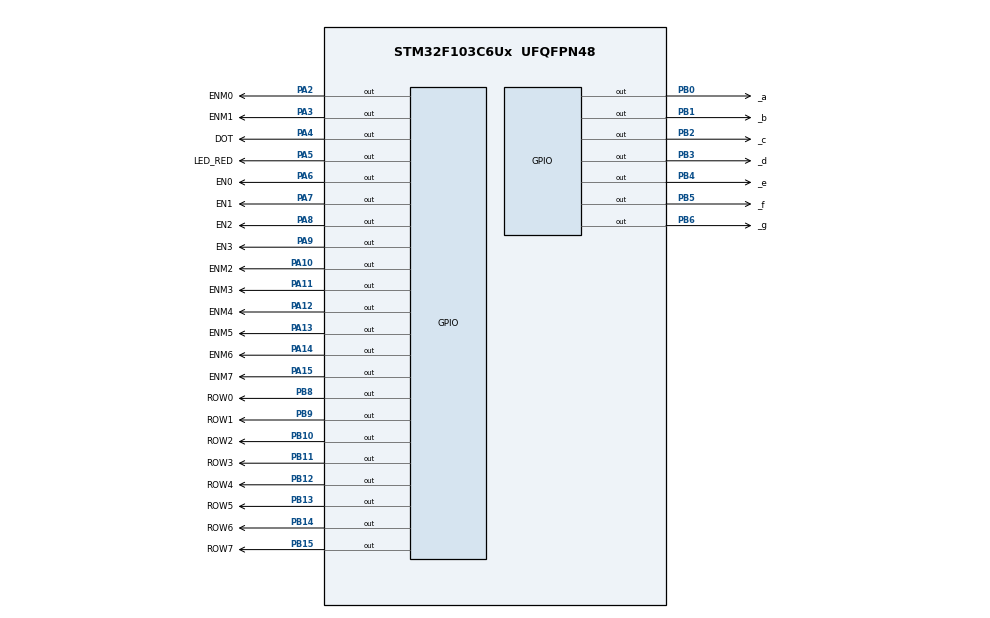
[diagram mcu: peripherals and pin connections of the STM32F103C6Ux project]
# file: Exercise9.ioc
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Mcu.Family=STM32F1
Mcu.Name=STM32F103C6Ux
Mcu.Package=UFQFPN48
NVIC.PriorityGroup=NVIC_PRIORITYGROUP_4
NVIC.TIM2_IRQn=true\:0\:0\:false\:false\:true\:true\:true\:true
PA10.GPIO_Label=ENM2
PA10.Signal=GPIO_Output
PA11.GPIO_Label=ENM3
PA11.Signal=GPIO_Output
PA12.GPIO_Label=ENM4
PA12.Signal=GPIO_Output
PA13.GPIO_Label=ENM5
PA13.Signal=GPIO_Output
PA14.GPIO_Label=ENM6
PA14.Signal=GPIO_Output
PA15.GPIO_Label=ENM7
PA15.Signal=GPIO_Output
PA2.GPIO_Label=ENM0
PA2.Signal=GPIO_Output
PA3.GPIO_Label=ENM1
PA3.Signal=GPIO_Output
PA4.GPIO_Label=DOT
PA4.Signal=GPIO_Output
PA5.GPIO_Label=LED_RED
PA5.Signal=GPIO_Output
PA6.GPIO_Label=EN0
PA6.Signal=GPIO_Output
PA7.GPIO_Label=EN1
PA7.Signal=GPIO_Output
PA8.GPIO_Label=EN2
PA8.Signal=GPIO_Output
PA9.GPIO_Label=EN3
PA9.Signal=GPIO_Output
PB0.GPIO_Label=_a
PB0.Signal=GPIO_Output
PB1.GPIO_Label=_b
PB1.Signal=GPIO_Output
PB10.GPIO_Label=ROW2
PB10.Signal=GPIO_Output
PB11.GPIO_Label=ROW3
PB11.Signal=GPIO_Output
PB12.GPIO_Label=ROW4
PB12.Signal=GPIO_Output
PB13.GPIO_Label=ROW5
PB13.Signal=GPIO_Output
PB14.GPIO_Label=ROW6
PB14.Signal=GPIO_Output
PB15.GPIO_Label=ROW7
PB15.Signal=GPIO_Output
PB2.GPIO_Label=_c
PB2.Signal=GPIO_Output
PB3.GPIO_Label=_d
PB3.Signal=GPIO_Output
PB4.GPIO_Label=_e
PB4.Signal=GPIO_Output
PB5.GPIO_Label=_f
PB5.Signal=GPIO_Output
PB6.GPIO_Label=_g
PB6.Signal=GPIO_Output
PB8.GPIO_Label=ROW0
PB8.Signal=GPIO_Output
PB9.GPIO_Label=ROW1
PB9.Signal=GPIO_Output
ProjectManager.HeapSize=0x200
ProjectManager.StackSize=0x400
ProjectManager.TargetToolchain=STM32CubeIDE
RCC.APB1Freq_Value=8000000
RCC.APB2Freq_Value=8000000
TIM2.Period=9
TIM2.Prescaler=7999
VP_TIM2_VS_ClockSourceINT.Mode=Internal
board=custom

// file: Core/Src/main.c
/* USER CODE BEGIN Header */
/**
  ******************************************************************************
  * @file           : main.c
  * @brief          : Main program body
  ******************************************************************************
  * @attention
  *
  * Copyright (c) 2022 STMicroelectronics.
  * All rights reserved.
  *
  * This software is licensed under terms that can be found in the LICENSE file
  * in the root directory of this software component.
  * If no LICENSE file comes with this software, it is provided AS-IS.
  *
  ******************************************************************************
  */
/* USER CODE END Header */
#include "main.h"

/* USER CODE BEGIN Includes */
#include "software_timer.h"
/* USER CODE END Includes */

TIM_HandleTypeDef htim2;

void SystemClock_Config(void);
static void MX_GPIO_Init(void);
static void MX_TIM2_Init(void);

/* USER CODE BEGIN 0 */
void display7SEG (int num, GPIO_TypeDef * GPIO_TYPE, uint16_t a_Pin, uint16_t b_Pin, uint16_t c_Pin, uint16_t d_Pin, uint16_t e_Pin, uint16_t f_Pin, uint16_t g_Pin){
	switch (num){
		case 0:
			HAL_GPIO_WritePin(GPIO_TYPE, a_Pin, RESET);
			HAL_GPIO_WritePin(GPIO_TYPE, b_Pin, RESET);
			HAL_GPIO_WritePin(GPIO_TYPE, c_Pin, RESET);
			HAL_GPIO_WritePin(GPIO_TYPE, d_Pin, RESET);
			HAL_GPIO_WritePin(GPIO_TYPE, e_Pin, RESET);
			HAL_GPIO_WritePin(GPIO_TYPE, f_Pin, RESET);
			HAL_GPIO_WritePin(GPIO_TYPE, g_Pin, SET);
			break;
		case 1:
			HAL_GPIO_WritePin(GPIO_TYPE, a_Pin, SET);
			HAL_GPIO_WritePin(GPIO_TYPE, b_Pin, RESET);
			HAL_GPIO_WritePin(GPIO_TYPE, c_Pin, RESET);
			HAL_GPIO_WritePin(GPIO_TYPE, d_Pin, SET);
			HAL_GPIO_WritePin(GPIO_TYPE, e_Pin, SET);
			HAL_GPIO_WritePin(GPIO_TYPE, f_Pin, SET);
			HAL_GPIO_WritePin(GPIO_TYPE, g_Pin, SET);
			break;
		case 2:
			HAL_GPIO_WritePin(GPIO_TYPE, a_Pin, RESET);
			HAL_GPIO_WritePin(GPIO_TYPE, b_Pin, RESET);
			HAL_GPIO_WritePin(GPIO_TYPE, c_Pin, SET);
			HAL_GPIO_WritePin(GPIO_TYPE, d_Pin, RESET);
			HAL_GPIO_WritePin(GPIO_TYPE, e_Pin, RESET);
			HAL_GPIO_WritePin(GPIO_TYPE, f_Pin, SET);
			HAL_GPIO_WritePin(GPIO_TYPE, g_Pin, RESET);
			break;
		case 3:
			HAL_GPIO_WritePin(GPIO_TYPE, a_Pin, RESET);
			HAL_GPIO_WritePin(GPIO_TYPE, b_Pin, RESET);
			HAL_GPIO_WritePin(GPIO_TYPE, c_Pin, RESET);
			HAL_GPIO_WritePin(GPIO_TYPE, d_Pin, RESET);
			HAL_GPIO_WritePin(GPIO_TYPE, e_Pin, SET);
			HAL_GPIO_WritePin(GPIO_TYPE, f_Pin, SET);
			HAL_GPIO_WritePin(GPIO_TYPE, g_Pin, RESET);
			break;
		case 4:
			HAL_GPIO_WritePin(GPIO_TYPE, a_Pin, SET);
			HAL_GPIO_WritePin(GPIO_TYPE, b_Pin, RESET);
			HAL_GPIO_WritePin(GPIO_TYPE, c_Pin, RESET);
			HAL_GPIO_WritePin(GPIO_TYPE, d_Pin, SET);
			HAL_GPIO_WritePin(GPIO_TYPE, e_Pin, SET);
			HAL_GPIO_WritePin(GPIO_TYPE, f_Pin, RESET);
			HAL_GPIO_WritePin(GPIO_TYPE, g_Pin, RESET);
			break;
		case 5:
			HAL_GPIO_WritePin(GPIO_TYPE, a_Pin, RESET);
			HAL_GPIO_WritePin(GPIO_TYPE, b_Pin, SET);
			HAL_GPIO_WritePin(GPIO_TYPE, c_Pin, RESET);
			HAL_GPIO_WritePin(GPIO_TYPE, d_Pin, RESET);
			HAL_GPIO_WritePin(GPIO_TYPE, e_Pin, SET);
			HAL_GPIO_WritePin(GPIO_TYPE, f_Pin, RESET);
			HAL_GPIO_WritePin(GPIO_TYPE, g_Pin, RESET);
			break;
		case 6:
			HAL_GPIO_WritePin(GPIO_TYPE, a_Pin, RESET);
			HAL_GPIO_WritePin(GPIO_TYPE, b_Pin, SET);
			HAL_GPIO_WritePin(GPIO_TYPE, c_Pin, RESET);
			HAL_GPIO_WritePin(GPIO_TYPE, d_Pin, RESET);
			HAL_GPIO_WritePin(GPIO_TYPE, e_Pin, RESET);
			HAL_GPIO_WritePin(GPIO_TYPE, f_Pin, RESET);
			HAL_GPIO_WritePin(GPIO_TYPE, g_Pin, RESET);
			break;
		case 7:
			HAL_GPIO_WritePin(GPIO_TYPE, a_Pin, RESET);
			HAL_GPIO_WritePin(GPIO_TYPE, b_Pin, RESET);
			HAL_GPIO_WritePin(GPIO_TYPE, c_Pin, RESET);
			HAL_GPIO_WritePin(GPIO_TYPE, d_Pin, SET);
			HAL_GPIO_WritePin(GPIO_TYPE, e_Pin, SET);
			HAL_GPIO_WritePin(GPIO_TYPE, f_Pin, SET);
			HAL_GPIO_WritePin(GPIO_TYPE, g_Pin, SET);
			break;
		case 8:
			HAL_GPIO_WritePin(GPIO_TYPE, a_Pin, RESET);
			HAL_GPIO_WritePin(GPIO_TYPE, b_Pin, RESET);
			HAL_GPIO_WritePin(GPIO_TYPE, c_Pin, RESET);
			HAL_GPIO_WritePin(GPIO_TYPE, d_Pin, RESET);
			HAL_GPIO_WritePin(GPIO_TYPE, e_Pin, RESET);
			HAL_GPIO_WritePin(GPIO_TYPE, f_Pin, RESET);
			HAL_GPIO_WritePin(GPIO_TYPE, g_Pin, RESET);
			break;
		case 9:
			HAL_GPIO_WritePin(GPIO_TYPE, a_Pin, RESET);
			HAL_GPIO_WritePin(GPIO_TYPE, b_Pin, RESET);
			HAL_GPIO_WritePin(GPIO_TYPE, c_Pin, RESET);
			HAL_GPIO_WritePin(GPIO_TYPE, d_Pin, RESET);
			HAL_GPIO_WritePin(GPIO_TYPE, e_Pin, SET);
			HAL_GPIO_WritePin(GPIO_TYPE, f_Pin, RESET);
			HAL_GPIO_WritePin(GPIO_TYPE, g_Pin, RESET);
			break;
		default:
			break;
	}
}
int profile[10][8] = {
		{1, 1, 0, 0, 0, 0, 0, 0},
		{1, 0, 0, 0, 0, 0, 0, 0},
		{0, 0, 0, 1, 0, 0, 1, 1},
		{0, 0, 1, 1, 0, 0, 1, 1},
		{0, 0, 1, 1, 0, 0, 1, 1},
		{0, 0, 0, 1, 0, 0, 1, 1},
		{1, 0, 0, 0, 0, 0, 0, 0},
		{1, 1, 0, 0, 0, 0, 0, 0},
		{1, 1, 1, 1, 1, 1, 1, 1},
		{1, 1, 1, 1, 1, 1, 1, 1}
};

int row1[] = {1, 1, 0, 0, 0, 0, 0, 0};
int row2[] = {1, 0, 0, 0, 0, 0, 0, 0};
int row3[] = {0, 0, 0, 1, 0, 0, 1, 1};
int row4[] = {0, 0, 1, 1, 0, 0, 1, 1};
int row5[] = {0, 0, 1, 1, 0, 0, 1, 1};
int row6[] = {0, 0, 0, 1, 0, 0, 1, 1};
int row7[] = {1, 0, 0, 0, 0, 0, 0, 0};
int row8[] = {1, 1, 0, 0, 0, 0, 0, 0};
void clearAllRow() {
	HAL_GPIO_WritePin(ENM0_GPIO_Port, ENM0_Pin, 0);
	HAL_GPIO_WritePin(ENM1_GPIO_Port, ENM1_Pin, 0);
	HAL_GPIO_WritePin(ENM2_GPIO_Port, ENM2_Pin, 0);
	HAL_GPIO_WritePin(ENM3_GPIO_Port, ENM3_Pin, 0);
	HAL_GPIO_WritePin(ENM4_GPIO_Port, ENM4_Pin, 0);
	HAL_GPIO_WritePin(ENM5_GPIO_Port, ENM5_Pin, 0);
	HAL_GPIO_WritePin(ENM6_GPIO_Port, ENM6_Pin, 0);
	HAL_GPIO_WritePin(ENM7_GPIO_Port, ENM7_Pin, 0);
}
void updateLedMatrix(int index, int profile[]) {
	switch (index) {
	case 0:
		clearAllRow();
		HAL_GPIO_WritePin(ENM0_GPIO_Port, ENM0_Pin, 1);
		break;
	case 1:
		clearAllRow();
		HAL_GPIO_WritePin(ENM1_GPIO_Port, ENM1_Pin, 1);
		break;
	case 2:
		clearAllRow();
		HAL_GPIO_WritePin(ENM2_GPIO_Port, ENM2_Pin, 1);
		break;
	case 3:
		clearAllRow();
		HAL_GPIO_WritePin(ENM3_GPIO_Port, ENM3_Pin, 1);
		break;
	case 4:
		clearAllRow();
		HAL_GPIO_WritePin(ENM4_GPIO_Port, ENM4_Pin, 1);
		break;
	case 5:
		clearAllRow();
		HAL_GPIO_WritePin(ENM5_GPIO_Port, ENM5_Pin, 1);
		break;
	case 6:
		clearAllRow();
		HAL_GPIO_WritePin(ENM6_GPIO_Port, ENM6_Pin, 1);
		break;
	case 7:
		clearAllRow();
		HAL_GPIO_WritePin(ENM7_GPIO_Port, ENM7_Pin, 1);
		break;
	default:
		break;
	}
	HAL_GPIO_WritePin(ROW0_GPIO_Port, ROW0_Pin, profile[0]);
	HAL_GPIO_WritePin(ROW1_GPIO_Port, ROW1_Pin, profile[1]);
	HAL_GPIO_WritePin(ROW2_GPIO_Port, ROW2_Pin, profile[2]);
	HAL_GPIO_WritePin(ROW3_GPIO_Port, ROW3_Pin, profile[3]);
	HAL_GPIO_WritePin(ROW4_GPIO_Port, ROW4_Pin, profile[4]);
	HAL_GPIO_WritePin(ROW5_GPIO_Port, ROW5_Pin, profile[5]);
	HAL_GPIO_WritePin(ROW6_GPIO_Port, ROW6_Pin, profile[6]);
	HAL_GPIO_WritePin(ROW7_GPIO_Port, ROW7_Pin, profile[7]);
}
/* USER CODE END 0 */

int main(void)
{

  /* MCU Configuration--------------------------------------------------------*/

  /* Reset of all peripherals, Initializes the Flash interface and the Systick. */
  HAL_Init();

  /* Configure the system clock */
  SystemClock_Config();

  /* Initialize all configured peripherals */
  MX_GPIO_Init();
  MX_TIM2_Init();
  /* USER CODE BEGIN 2 */
  HAL_TIM_Base_Start_IT (& htim2 );
  /* USER CODE END 2 */

  /* Infinite loop */
  /* USER CODE BEGIN WHILE */
  setTimer1(100);
  setTimer2(50);
  setTimer3(100);
  setTimer4(1);
  int status = 1;
  int minute = 30, hour = 0;
  int minute_1 = minute % 10;
  int minute_2 = minute / 10;
  int hour_1 = hour % 10;
  int hour_2 = hour / 10;
  int count = 0;
  int count_offset = 0;
  while (1)
  {
	  if(timer1_flag == 1) {
		  setTimer1(100);
		  HAL_GPIO_TogglePin(LED_RED_GPIO_Port, LED_RED_Pin);
		  HAL_GPIO_TogglePin(DOT_GPIO_Port, DOT_Pin);
	  }
	  if(timer4_flag == 1) {
		  setTimer4(1);
		  if(count + count_offset >= 10) {
			  updateLedMatrix(count, profile[count + count_offset - 10]);
		  }
		  else {
			  updateLedMatrix(count, profile[count + count_offset]);
		  }
		  count++;
		  if(count >= 8) {
			  count = 0;
			  count_offset += 1;
			  if(count_offset >= 10) count_offset = 0;
		  }
	  }
//	  if(timer4_flag == 1) {
//		  setTimer4(1);
//		  updateLedMatrix(count, profile[count]);
//		  count++;
//		  if(count >= 8) {
//			  count = 0;
//		  }
//	  }
	  if(timer2_flag == 1) {
		  setTimer2(50);
		  if(status == 4) {
			  HAL_GPIO_WritePin(EN0_GPIO_Port, EN0_Pin, RESET);
			  HAL_GPIO_WritePin(EN1_GPIO_Port, EN1_Pin, SET);
			  HAL_GPIO_WritePin(EN2_GPIO_Port, EN2_Pin, SET);
			  HAL_GPIO_WritePin(EN3_GPIO_Port, EN3_Pin, SET);
			  display7SEG(hour_2, GPIOB, _a_Pin, _b_Pin, _c_Pin, _d_Pin, _e_Pin, _f_Pin, _g_Pin);
			  status = 1;
			  continue;
		  }
		  if(status == 3) {
			  HAL_GPIO_WritePin(EN0_GPIO_Port, EN0_Pin, SET);
			  HAL_GPIO_WritePin(EN1_GPIO_Port, EN1_Pin, RESET);
			  HAL_GPIO_WritePin(EN2_GPIO_Port, EN2_Pin, SET);
			  HAL_GPIO_WritePin(EN3_GPIO_Port, EN3_Pin, SET);
			  display7SEG(hour_1, GPIOB, _a_Pin, _b_Pin, _c_Pin, _d_Pin, _e_Pin, _f_Pin, _g_Pin);
			  status = 4;
		  }
		  if(status == 2) {
			  HAL_GPIO_WritePin(EN0_GPIO_Port, EN0_Pin, SET);
			  HAL_GPIO_WritePin(EN1_GPIO_Port, EN1_Pin, SET);
			  HAL_GPIO_WritePin(EN2_GPIO_Port, EN2_Pin, RESET);
			  HAL_GPIO_WritePin(EN3_GPIO_Port, EN3_Pin, SET);
			  display7SEG(minute_2, GPIOB, _a_Pin, _b_Pin, _c_Pin, _d_Pin, _e_Pin, _f_Pin, _g_Pin);
			  status = 3;
		  }
		  if(status == 1) {
			  HAL_GPIO_WritePin(EN0_GPIO_Port, EN0_Pin, SET);
			  HAL_GPIO_WritePin(EN1_GPIO_Port, EN1_Pin, SET);
			  HAL_GPIO_WritePin(EN2_GPIO_Port, EN2_Pin, SET);
			  HAL_GPIO_WritePin(EN3_GPIO_Port, EN3_Pin, RESET);
			  display7SEG(minute_1, GPIOB, _a_Pin, _b_Pin, _c_Pin, _d_Pin, _e_Pin, _f_Pin, _g_Pin);
			  status = 2;
		  }
	  }
	  if(timer3_flag == 1) {
		  setTimer3(6000);
		  minute_1 = minute % 10;
		  minute_2 = minute / 10;
		  hour_1 = hour % 10;
		  hour_2 = hour / 10;
		  minute++;
		  if(minute > 60) {
			  minute = 0;
			  hour++;
			  if(hour == 12) hour = 0;
		  }
	  }
    /* USER CODE END WHILE */

  }
}

void SystemClock_Config(void)
{
  RCC_OscInitTypeDef RCC_OscInitStruct = {0};
  RCC_ClkInitTypeDef RCC_ClkInitStruct = {0};

  /** Initializes the RCC Oscillators according to the specified parameters
  * in the RCC_OscInitTypeDef structure.
  */
  RCC_OscInitStruct.OscillatorType = RCC_OSCILLATORTYPE_HSI;
  RCC_OscInitStruct.HSIState = RCC_HSI_ON;
  RCC_OscInitStruct.HSICalibrationValue = RCC_HSICALIBRATION_DEFAULT;
  RCC_OscInitStruct.PLL.PLLState = RCC_PLL_NONE;
  if (HAL_RCC_OscConfig(&RCC_OscInitStruct) != HAL_OK)
  {
    Error_Handler();
  }

  /** Initializes the CPU, AHB and APB buses clocks
  */
  RCC_ClkInitStruct.ClockType = RCC_CLOCKTYPE_HCLK|RCC_CLOCKTYPE_SYSCLK
                              |RCC_CLOCKTYPE_PCLK1|RCC_CLOCKTYPE_PCLK2;
  RCC_ClkInitStruct.SYSCLKSource = RCC_SYSCLKSOURCE_HSI;
  RCC_ClkInitStruct.AHBCLKDivider = RCC_SYSCLK_DIV1;
  RCC_ClkInitStruct.APB1CLKDivider = RCC_HCLK_DIV1;
  RCC_ClkInitStruct.APB2CLKDivider = RCC_HCLK_DIV1;

  if (HAL_RCC_ClockConfig(&RCC_ClkInitStruct, FLASH_LATENCY_0) != HAL_OK)
  {
    Error_Handler();
  }
}

static void MX_TIM2_Init(void)
{

  TIM_ClockConfigTypeDef sClockSourceConfig = {0};
  TIM_MasterConfigTypeDef sMasterConfig = {0};

  htim2.Instance = TIM2;
  htim2.Init.Prescaler = 7999;
  htim2.Init.CounterMode = TIM_COUNTERMODE_UP;
  htim2.Init.Period = 9;
  htim2.Init.ClockDivision = TIM_CLOCKDIVISION_DIV1;
  htim2.Init.AutoReloadPreload = TIM_AUTORELOAD_PRELOAD_DISABLE;
  if (HAL_TIM_Base_Init(&htim2) != HAL_OK)
  {
    Error_Handler();
  }
  sClockSourceConfig.ClockSource = TIM_CLOCKSOURCE_INTERNAL;
  if (HAL_TIM_ConfigClockSource(&htim2, &sClockSourceConfig) != HAL_OK)
  {
    Error_Handler();
  }
  sMasterConfig.MasterOutputTrigger = TIM_TRGO_RESET;
  sMasterConfig.MasterSlaveMode = TIM_MASTERSLAVEMODE_DISABLE;
  if (HAL_TIMEx_MasterConfigSynchronization(&htim2, &sMasterConfig) != HAL_OK)
  {
    Error_Handler();
  }

}

static void MX_GPIO_Init(void)
{
  GPIO_InitTypeDef GPIO_InitStruct = {0};

  /* GPIO Ports Clock Enable */
  __HAL_RCC_GPIOA_CLK_ENABLE();
  __HAL_RCC_GPIOB_CLK_ENABLE();

  /*Configure GPIO pin Output Level */
  HAL_GPIO_WritePin(GPIOA, ENM0_Pin|ENM1_Pin|DOT_Pin|LED_RED_Pin
                          |EN0_Pin|EN1_Pin|EN2_Pin|EN3_Pin
                          |ENM2_Pin|ENM3_Pin|ENM4_Pin|ENM5_Pin
                          |ENM6_Pin|ENM7_Pin, GPIO_PIN_RESET);

  /*Configure GPIO pin Output Level */
  HAL_GPIO_WritePin(GPIOB, _a_Pin|_b_Pin|_c_Pin|ROW2_Pin
                          |ROW3_Pin|ROW4_Pin|ROW5_Pin|ROW6_Pin
                          |ROW7_Pin|_d_Pin|_e_Pin|_f_Pin
                          |_g_Pin|ROW0_Pin|ROW1_Pin, GPIO_PIN_RESET);

  /*Configure GPIO pins : ENM0_Pin ENM1_Pin DOT_Pin LED_RED_Pin
                           EN0_Pin EN1_Pin EN2_Pin EN3_Pin
                           ENM2_Pin ENM3_Pin ENM4_Pin ENM5_Pin
                           ENM6_Pin ENM7_Pin */
  GPIO_InitStruct.Pin = ENM0_Pin|ENM1_Pin|DOT_Pin|LED_RED_Pin
                          |EN0_Pin|EN1_Pin|EN2_Pin|EN3_Pin
                          |ENM2_Pin|ENM3_Pin|ENM4_Pin|ENM5_Pin
                          |ENM6_Pin|ENM7_Pin;
  GPIO_InitStruct.Mode = GPIO_MODE_OUTPUT_PP;
  GPIO_InitStruct.Pull = GPIO_NOPULL;
  GPIO_InitStruct.Speed = GPIO_SPEED_FREQ_LOW;
  HAL_GPIO_Init(GPIOA, &GPIO_InitStruct);

  /*Configure GPIO pins : _a_Pin _b_Pin _c_Pin ROW2_Pin
                           ROW3_Pin ROW4_Pin ROW5_Pin ROW6_Pin
                           ROW7_Pin _d_Pin _e_Pin _f_Pin
                           _g_Pin ROW0_Pin ROW1_Pin */
  GPIO_InitStruct.Pin = _a_Pin|_b_Pin|_c_Pin|ROW2_Pin
                          |ROW3_Pin|ROW4_Pin|ROW5_Pin|ROW6_Pin
                          |ROW7_Pin|_d_Pin|_e_Pin|_f_Pin
                          |_g_Pin|ROW0_Pin|ROW1_Pin;
  GPIO_InitStruct.Mode = GPIO_MODE_OUTPUT_PP;
  GPIO_InitStruct.Pull = GPIO_NOPULL;
  GPIO_InitStruct.Speed = GPIO_SPEED_FREQ_LOW;
  HAL_GPIO_Init(GPIOB, &GPIO_InitStruct);

}

/* USER CODE BEGIN 4 */
void HAL_TIM_PeriodElapsedCallback(TIM_HandleTypeDef *htim) {
	timerRun();
}
/* USER CODE END 4 */

void Error_Handler(void)
{
  __disable_irq();
  while (1)
  {
  }
}
